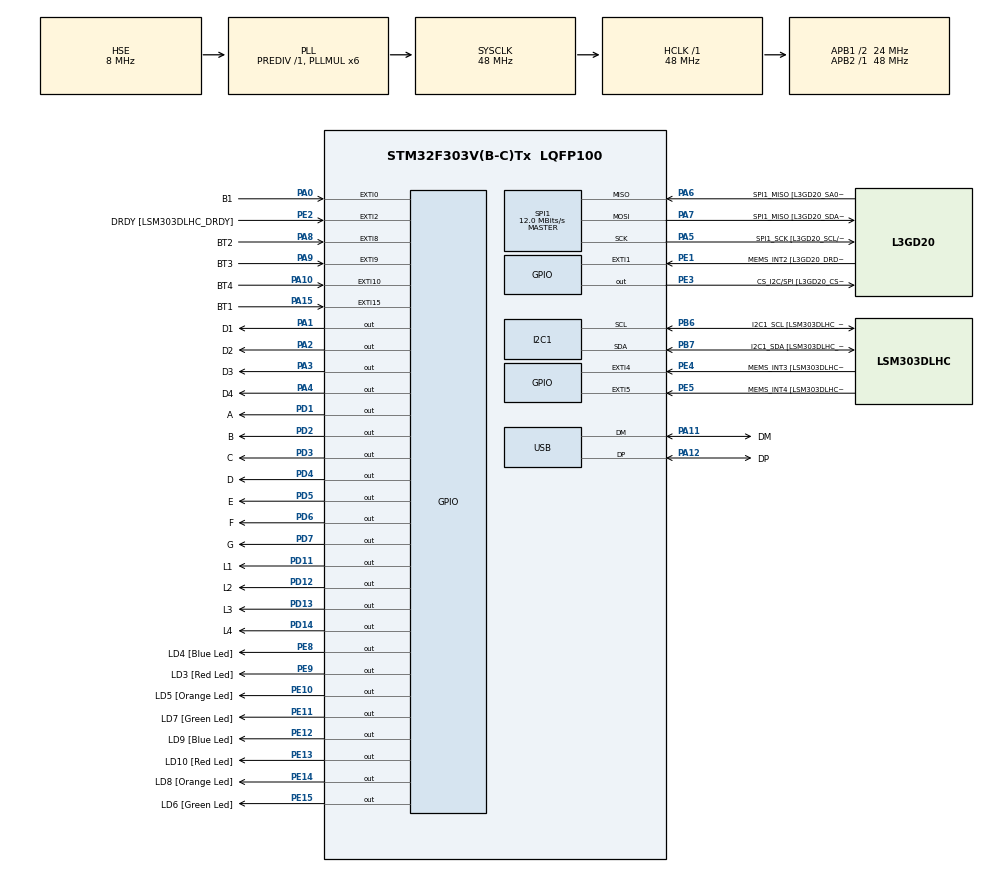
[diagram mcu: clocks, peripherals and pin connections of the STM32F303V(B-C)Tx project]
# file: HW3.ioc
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I2C1.Timing-I2C=0x2000090E
Mcu.Family=STM32F3
Mcu.Name=STM32F303V(B-C)Tx
Mcu.Package=LQFP100
NVIC.EXTI0_IRQn=true\:0\:0\:false\:false\:true\:true\:true\:true
NVIC.EXTI15_10_IRQn=true\:0\:0\:false\:false\:true\:true\:true\:true
NVIC.EXTI9_5_IRQn=true\:0\:0\:false\:false\:true\:true\:true\:true
NVIC.PriorityGroup=NVIC_PRIORITYGROUP_0
NVIC.TIM3_IRQn=true\:0\:0\:false\:false\:true\:true\:true\:true
PA0.GPIO_Label=B1
PA0.GPIO_PuPd=GPIO_PULLDOWN
PA0.Signal=GPXTI0
PA1.GPIO_Label=D1
PA1.Signal=GPIO_Output
PA10.GPIO_Label=BT4
PA10.Signal=GPXTI10
PA11.GPIO_Label=DM
PA11.Mode=Device
PA11.Signal=USB_DM
PA12.GPIO_Label=DP
PA12.Mode=Device
PA12.Signal=USB_DP
PA13.GPIO_Label=SWDIO
PA13.Mode=Serial_Wire
PA13.Signal=SYS_JTMS-SWDIO
PA14.GPIO_Label=SWCLK
PA14.Mode=Serial_Wire
PA14.Signal=SYS_JTCK-SWCLK
PA15.GPIO_Label=BT1
PA15.Signal=GPXTI15
PA2.GPIO_Label=D2
PA2.Signal=GPIO_Output
PA3.GPIO_Label=D3
PA3.Signal=GPIO_Output
PA4.GPIO_Label=D4
PA4.Signal=GPIO_Output
PA5.GPIO_Label=SPI1_SCK [L3GD20_SCL/SPC]
PA5.Mode=Full_Duplex_Master
PA5.Signal=SPI1_SCK
PA6.GPIO_Label=SPI1_MISO [L3GD20_SA0/SDO]
PA6.Mode=Full_Duplex_Master
PA6.Signal=SPI1_MISO
PA7.GPIO_Label=SPI1_MISO [L3GD20_SDA/SDI/SDO]
PA7.Mode=Full_Duplex_Master
PA7.Signal=SPI1_MOSI
PA8.GPIO_Label=BT2
PA8.GPIO_PuPd=GPIO_PULLDOWN
PA8.Signal=GPXTI8
PA9.GPIO_Label=BT3
PA9.Signal=GPXTI9
PB3.GPIO_Label=SWO
PB3.Signal=SYS_JTDO-TRACESWO
PB6.GPIO_Label=I2C1_SCL [LSM303DLHC_SCL]
PB6.GPIO_Pu=GPIO_PULLUP
PB6.Mode=I2C
PB6.Signal=I2C1_SCL
PB7.GPIO_Label=I2C1_SDA [LSM303DLHC_SDA]
PB7.GPIO_Pu=GPIO_PULLUP
PB7.Mode=I2C
PB7.Signal=I2C1_SDA
PC14-OSC32_IN.GPIO_Label=OSC32_IN
PC14-OSC32_IN.Signal=RCC_OSC32_IN
PC15-OSC32_OUT.GPIO_Label=OSC32_OUT
PC15-OSC32_OUT.Signal=RCC_OSC32_OUT
PD1.GPIO_Label=A
PD1.Signal=GPIO_Output
PD11.GPIO_Label=L1
PD11.Signal=GPIO_Output
PD12.GPIO_Label=L2
PD12.Signal=GPIO_Output
PD13.GPIO_Label=L3
PD13.Signal=GPIO_Output
PD14.GPIO_Label=L4
PD14.Signal=GPIO_Output
PD2.GPIO_Label=B
PD2.Signal=GPIO_Output
PD3.GPIO_Label=C
PD3.Signal=GPIO_Output
PD4.GPIO_Label=D
PD4.Signal=GPIO_Output
PD5.GPIO_Label=E
PD5.Signal=GPIO_Output
PD6.GPIO_Label=F
PD6.Signal=GPIO_Output
PD7.GPIO_Label=G
PD7.Signal=GPIO_Output
PE1.GPIO_Label=MEMS_INT2 [L3GD20_DRDY/INT2]
PE1.GPIO_ModeDefaultEXTI=GPIO_MODE_EVT_RISING
PE1.Signal=GPXTI1
PE10.GPIO_Label=LD5 [Orange Led]
PE10.Signal=GPIO_Output
PE11.GPIO_Label=LD7 [Green Led]
PE11.Signal=GPIO_Output
PE12.GPIO_Label=LD9 [Blue Led]
PE12.Signal=GPIO_Output
PE13.GPIO_Label=LD10 [Red Led]
PE13.Signal=GPIO_Output
PE14.GPIO_Label=LD8 [Orange Led]
PE14.Signal=GPIO_Output
PE15.GPIO_Label=LD6 [Green Led]
PE15.Signal=GPIO_Output
PE2.GPIO_Label=DRDY [LSM303DLHC_DRDY]
PE2.GPIO_ModeDefaultEXTI=GPIO_MODE_EVT_RISING
PE2.Signal=GPXTI2
PE3.GPIO_Label=CS_I2C/SPI [L3GD20_CS_I2C/SPI]
PE3.Signal=GPIO_Output
PE4.GPIO_Label=MEMS_INT3 [LSM303DLHC_INT1]
PE4.GPIO_ModeDefaultEXTI=GPIO_MODE_EVT_RISING
PE4.Signal=GPXTI4
PE5.GPIO_Label=MEMS_INT4 [LSM303DLHC_INT2]
PE5.GPIO_ModeDefaultEXTI=GPIO_MODE_EVT_RISING
PE5.Signal=GPXTI5
PE8.GPIO_Label=LD4 [Blue Led]
PE8.Signal=GPIO_Output
PE9.GPIO_Label=LD3 [Red Led]
PE9.Signal=GPIO_Output
PF0-OSC_IN.GPIO_Label=OSC_IN
PF0-OSC_IN.Mode=HSE-External-Clock-Source
PF0-OSC_IN.Signal=RCC_OSC_IN
PF1-OSC_OUT.GPIO_Label=OSC_OUT
PF1-OSC_OUT.Signal=RCC_OSC_OUT
ProjectManager.HeapSize=0x200
ProjectManager.StackSize=0x400
ProjectManager.TargetToolchain=STM32CubeIDE
RCC.AHBFreq_Value=48000000
RCC.APB1CLKDivider=RCC_HCLK_DIV2
RCC.APB1Freq_Value=24000000
RCC.APB1TimFreq_Value=48000000
RCC.APB2Freq_Value=48000000
RCC.APB2TimFreq_Value=48000000
RCC.CortexFreq_Value=48000000
RCC.HCLKFreq_Value=48000000
RCC.HSE_VALUE=8000000
RCC.HSI_VALUE=8000000
RCC.LSE_VALUE=32768
RCC.PLLMUL=RCC_PLL_MUL6
RCC.SYSCLKFreq_VALUE=48000000
RCC.SYSCLKSourceVirtual=RCC_SYSCLKSOURCE_PLLCLK
RCC.USBFreq_Value=48000000
SPI1.BaudRatePrescaler=SPI_BAUDRATEPRESCALER_4
SPI1.BaudRatePrescaler-Full_Duplex_Master=SPI_BAUDRATEPRESCALER_2
SPI1.CalculateBaudRate=12.0 MBits/s
SPI1.CalculateBaudRate-Full_Duplex_Master=24.0 MBits/s
SPI1.Direction=SPI_DIRECTION_2LINES
SPI1.Mode=SPI_MODE_MASTER
SPI1.Mode-Full_Duplex_Master=SPI_MODE_MASTER
SPI1.VirtualType=VM_MASTER
TIM3.Period=10 - 1
TIM3.Prescaler=4800 - 1
VP_TIM3_VS_ClockSourceINT.Mode=Internal
board=STM32F3DISCOVERY

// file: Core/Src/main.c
/* USER CODE BEGIN Header */
/**
  ******************************************************************************
  * @file           : main.c
  * @brief          : Main program body
  ******************************************************************************
  * @attention
  *
  * Copyright (c) 2023 STMicroelectronics.
  * All rights reserved.
  *
  * This software is licensed under terms that can be found in the LICENSE file
  * in the root directory of this software component.
  * If no LICENSE file comes with this software, it is provided AS-IS.
  *
  ******************************************************************************
  */
/* USER CODE END Header */
#include "main.h"

I2C_HandleTypeDef hi2c1;

SPI_HandleTypeDef hspi1;

TIM_HandleTypeDef htim3;

PCD_HandleTypeDef hpcd_USB_FS;

/* USER CODE BEGIN PV */
int t = 60;
int t_timer = 0;
int b_timer = 0;
int num = 0;
int fails = 0;
int stat = 0;
uint16_t LED[] = {L1_Pin,L2_Pin,L3_Pin,L4_Pin};
int nums[] = {1,2,3,5};
int done = 0;
/* USER CODE END PV */

void SystemClock_Config(void);
static void MX_GPIO_Init(void);
static void MX_I2C1_Init(void);
static void MX_SPI1_Init(void);
static void MX_USB_PCD_Init(void);
static void MX_TIM3_Init(void);

int main(void)
{

  /* MCU Configuration--------------------------------------------------------*/

  /* Reset of all peripherals, Initializes the Flash interface and the Systick. */
  HAL_Init();

  /* Configure the system clock */
  SystemClock_Config();

  /* Initialize all configured peripherals */
  MX_GPIO_Init();
  MX_I2C1_Init();
  MX_SPI1_Init();
  MX_USB_PCD_Init();
  MX_TIM3_Init();
  /* USER CODE BEGIN 2 */
  HAL_TIM_Base_Start_IT(&htim3);
  /* USER CODE END 2 */

  /* Infinite loop */
  while (1)
  {

  }
}

void SystemClock_Config(void)
{
  RCC_OscInitTypeDef RCC_OscInitStruct = {0};
  RCC_ClkInitTypeDef RCC_ClkInitStruct = {0};
  RCC_PeriphCLKInitTypeDef PeriphClkInit = {0};

  /** Initializes the RCC Oscillators according to the specified parameters
  * in the RCC_OscInitTypeDef structure.
  */
  RCC_OscInitStruct.OscillatorType = RCC_OSCILLATORTYPE_HSI|RCC_OSCILLATORTYPE_HSE;
  RCC_OscInitStruct.HSEState = RCC_HSE_BYPASS;
  RCC_OscInitStruct.HSEPredivValue = RCC_HSE_PREDIV_DIV1;
  RCC_OscInitStruct.HSIState = RCC_HSI_ON;
  RCC_OscInitStruct.HSICalibrationValue = RCC_HSICALIBRATION_DEFAULT;
  RCC_OscInitStruct.PLL.PLLState = RCC_PLL_ON;
  RCC_OscInitStruct.PLL.PLLSource = RCC_PLLSOURCE_HSE;
  RCC_OscInitStruct.PLL.PLLMUL = RCC_PLL_MUL6;
  if (HAL_RCC_OscConfig(&RCC_OscInitStruct) != HAL_OK)
  {
    Error_Handler();
  }

  /** Initializes the CPU, AHB and APB buses clocks
  */
  RCC_ClkInitStruct.ClockType = RCC_CLOCKTYPE_HCLK|RCC_CLOCKTYPE_SYSCLK
                              |RCC_CLOCKTYPE_PCLK1|RCC_CLOCKTYPE_PCLK2;
  RCC_ClkInitStruct.SYSCLKSource = RCC_SYSCLKSOURCE_PLLCLK;
  RCC_ClkInitStruct.AHBCLKDivider = RCC_SYSCLK_DIV1;
  RCC_ClkInitStruct.APB1CLKDivider = RCC_HCLK_DIV2;
  RCC_ClkInitStruct.APB2CLKDivider = RCC_HCLK_DIV1;

  if (HAL_RCC_ClockConfig(&RCC_ClkInitStruct, FLASH_LATENCY_1) != HAL_OK)
  {
    Error_Handler();
  }
  PeriphClkInit.PeriphClockSelection = RCC_PERIPHCLK_USB|RCC_PERIPHCLK_I2C1;
  PeriphClkInit.I2c1ClockSelection = RCC_I2C1CLKSOURCE_HSI;
  PeriphClkInit.USBClockSelection = RCC_USBCLKSOURCE_PLL;
  if (HAL_RCCEx_PeriphCLKConfig(&PeriphClkInit) != HAL_OK)
  {
    Error_Handler();
  }
}

static void MX_I2C1_Init(void)
{

  hi2c1.Instance = I2C1;
  hi2c1.Init.Timing = 0x2000090E;
  hi2c1.Init.OwnAddress1 = 0;
  hi2c1.Init.AddressingMode = I2C_ADDRESSINGMODE_7BIT;
  hi2c1.Init.DualAddressMode = I2C_DUALADDRESS_DISABLE;
  hi2c1.Init.OwnAddress2 = 0;
  hi2c1.Init.OwnAddress2Masks = I2C_OA2_NOMASK;
  hi2c1.Init.GeneralCallMode = I2C_GENERALCALL_DISABLE;
  hi2c1.Init.NoStretchMode = I2C_NOSTRETCH_DISABLE;
  if (HAL_I2C_Init(&hi2c1) != HAL_OK)
  {
    Error_Handler();
  }

  /** Configure Analogue filter
  */
  if (HAL_I2CEx_ConfigAnalogFilter(&hi2c1, I2C_ANALOGFILTER_ENABLE) != HAL_OK)
  {
    Error_Handler();
  }

  /** Configure Digital filter
  */
  if (HAL_I2CEx_ConfigDigitalFilter(&hi2c1, 0) != HAL_OK)
  {
    Error_Handler();
  }

}

static void MX_SPI1_Init(void)
{

  /* SPI1 parameter configuration*/
  hspi1.Instance = SPI1;
  hspi1.Init.Mode = SPI_MODE_MASTER;
  hspi1.Init.Direction = SPI_DIRECTION_2LINES;
  hspi1.Init.DataSize = SPI_DATASIZE_4BIT;
  hspi1.Init.CLKPolarity = SPI_POLARITY_LOW;
  hspi1.Init.CLKPhase = SPI_PHASE_1EDGE;
  hspi1.Init.NSS = SPI_NSS_SOFT;
  hspi1.Init.BaudRatePrescaler = SPI_BAUDRATEPRESCALER_4;
  hspi1.Init.FirstBit = SPI_FIRSTBIT_MSB;
  hspi1.Init.TIMode = SPI_TIMODE_DISABLE;
  hspi1.Init.CRCCalculation = SPI_CRCCALCULATION_DISABLE;
  hspi1.Init.CRCPolynomial = 7;
  hspi1.Init.CRCLength = SPI_CRC_LENGTH_DATASIZE;
  hspi1.Init.NSSPMode = SPI_NSS_PULSE_ENABLE;
  if (HAL_SPI_Init(&hspi1) != HAL_OK)
  {
    Error_Handler();
  }

}

static void MX_TIM3_Init(void)
{

  TIM_ClockConfigTypeDef sClockSourceConfig = {0};
  TIM_MasterConfigTypeDef sMasterConfig = {0};

  htim3.Instance = TIM3;
  htim3.Init.Prescaler = 4800 - 1;
  htim3.Init.CounterMode = TIM_COUNTERMODE_UP;
  htim3.Init.Period = 10 - 1;
  htim3.Init.ClockDivision = TIM_CLOCKDIVISION_DIV1;
  htim3.Init.AutoReloadPreload = TIM_AUTORELOAD_PRELOAD_DISABLE;
  if (HAL_TIM_Base_Init(&htim3) != HAL_OK)
  {
    Error_Handler();
  }
  sClockSourceConfig.ClockSource = TIM_CLOCKSOURCE_INTERNAL;
  if (HAL_TIM_ConfigClockSource(&htim3, &sClockSourceConfig) != HAL_OK)
  {
    Error_Handler();
  }
  sMasterConfig.MasterOutputTrigger = TIM_TRGO_RESET;
  sMasterConfig.MasterSlaveMode = TIM_MASTERSLAVEMODE_DISABLE;
  if (HAL_TIMEx_MasterConfigSynchronization(&htim3, &sMasterConfig) != HAL_OK)
  {
    Error_Handler();
  }

}

static void MX_USB_PCD_Init(void)
{

  hpcd_USB_FS.Instance = USB;
  hpcd_USB_FS.Init.dev_endpoints = 8;
  hpcd_USB_FS.Init.speed = PCD_SPEED_FULL;
  hpcd_USB_FS.Init.phy_itface = PCD_PHY_EMBEDDED;
  hpcd_USB_FS.Init.low_power_enable = DISABLE;
  hpcd_USB_FS.Init.battery_charging_enable = DISABLE;
  if (HAL_PCD_Init(&hpcd_USB_FS) != HAL_OK)
  {
    Error_Handler();
  }

}

static void MX_GPIO_Init(void)
{
  GPIO_InitTypeDef GPIO_InitStruct = {0};

  /* GPIO Ports Clock Enable */
  __HAL_RCC_GPIOE_CLK_ENABLE();
  __HAL_RCC_GPIOC_CLK_ENABLE();
  __HAL_RCC_GPIOF_CLK_ENABLE();
  __HAL_RCC_GPIOA_CLK_ENABLE();
  __HAL_RCC_GPIOD_CLK_ENABLE();
  __HAL_RCC_GPIOB_CLK_ENABLE();

  /*Configure GPIO pin Output Level */
  HAL_GPIO_WritePin(GPIOE, CS_I2C_SPI_Pin|LD4_Pin|LD3_Pin|LD5_Pin
                          |LD7_Pin|LD9_Pin|LD10_Pin|LD8_Pin
                          |LD6_Pin, GPIO_PIN_RESET);

  /*Configure GPIO pin Output Level */
  HAL_GPIO_WritePin(GPIOA, D1_Pin|D2_Pin|D3_Pin|D4_Pin, GPIO_PIN_RESET);

  /*Configure GPIO pin Output Level */
  HAL_GPIO_WritePin(GPIOD, L1_Pin|L2_Pin|L3_Pin|L4_Pin
                          |A_Pin|B_Pin|C_Pin|D_Pin
                          |E_Pin|F_Pin|G_Pin, GPIO_PIN_RESET);

  /*Configure GPIO pins : DRDY_Pin MEMS_INT3_Pin MEMS_INT4_Pin MEMS_INT2_Pin */
  GPIO_InitStruct.Pin = DRDY_Pin|MEMS_INT3_Pin|MEMS_INT4_Pin|MEMS_INT2_Pin;
  GPIO_InitStruct.Mode = GPIO_MODE_EVT_RISING;
  GPIO_InitStruct.Pull = GPIO_NOPULL;
  HAL_GPIO_Init(GPIOE, &GPIO_InitStruct);

  /*Configure GPIO pins : CS_I2C_SPI_Pin LD4_Pin LD3_Pin LD5_Pin
                           LD7_Pin LD9_Pin LD10_Pin LD8_Pin
                           LD6_Pin */
  GPIO_InitStruct.Pin = CS_I2C_SPI_Pin|LD4_Pin|LD3_Pin|LD5_Pin
                          |LD7_Pin|LD9_Pin|LD10_Pin|LD8_Pin
                          |LD6_Pin;
  GPIO_InitStruct.Mode = GPIO_MODE_OUTPUT_PP;
  GPIO_InitStruct.Pull = GPIO_NOPULL;
  GPIO_InitStruct.Speed = GPIO_SPEED_FREQ_LOW;
  HAL_GPIO_Init(GPIOE, &GPIO_InitStruct);

  /*Configure GPIO pins : B1_Pin BT2_Pin */
  GPIO_InitStruct.Pin = B1_Pin|BT2_Pin;
  GPIO_InitStruct.Mode = GPIO_MODE_IT_RISING;
  GPIO_InitStruct.Pull = GPIO_PULLDOWN;
  HAL_GPIO_Init(GPIOA, &GPIO_InitStruct);

  /*Configure GPIO pins : D1_Pin D2_Pin D3_Pin D4_Pin */
  GPIO_InitStruct.Pin = D1_Pin|D2_Pin|D3_Pin|D4_Pin;
  GPIO_InitStruct.Mode = GPIO_MODE_OUTPUT_PP;
  GPIO_InitStruct.Pull = GPIO_NOPULL;
  GPIO_InitStruct.Speed = GPIO_SPEED_FREQ_LOW;
  HAL_GPIO_Init(GPIOA, &GPIO_InitStruct);

  /*Configure GPIO pins : L1_Pin L2_Pin L3_Pin L4_Pin
                           A_Pin B_Pin C_Pin D_Pin
                           E_Pin F_Pin G_Pin */
  GPIO_InitStruct.Pin = L1_Pin|L2_Pin|L3_Pin|L4_Pin
                          |A_Pin|B_Pin|C_Pin|D_Pin
                          |E_Pin|F_Pin|G_Pin;
  GPIO_InitStruct.Mode = GPIO_MODE_OUTPUT_PP;
  GPIO_InitStruct.Pull = GPIO_NOPULL;
  GPIO_InitStruct.Speed = GPIO_SPEED_FREQ_LOW;
  HAL_GPIO_Init(GPIOD, &GPIO_InitStruct);

  /*Configure GPIO pins : BT3_Pin BT4_Pin BT1_Pin */
  GPIO_InitStruct.Pin = BT3_Pin|BT4_Pin|BT1_Pin;
  GPIO_InitStruct.Mode = GPIO_MODE_IT_RISING;
  GPIO_InitStruct.Pull = GPIO_NOPULL;
  HAL_GPIO_Init(GPIOA, &GPIO_InitStruct);

  /* EXTI interrupt init*/
  HAL_NVIC_SetPriority(EXTI0_IRQn, 0, 0);
  HAL_NVIC_EnableIRQ(EXTI0_IRQn);

  HAL_NVIC_SetPriority(EXTI9_5_IRQn, 0, 0);
  HAL_NVIC_EnableIRQ(EXTI9_5_IRQn);

  HAL_NVIC_SetPriority(EXTI15_10_IRQn, 0, 0);
  HAL_NVIC_EnableIRQ(EXTI15_10_IRQn);

}

/* USER CODE BEGIN 4 */
void num_to_seven(int i)
{
	int x1 = i & 1;
	int x2 = i & 2;
	int x3 = i & 4;
	int x4 = i & 8;
	if (x1 > 0) x1 = 1;
	if (x2 > 0) x2 = 1;
	if (x3 > 0) x3 = 1;
	if (x4 > 0) x4 = 1;
	HAL_GPIO_WritePin(GPIOD, A_Pin, x1);
	HAL_GPIO_WritePin(GPIOD, B_Pin, x2);
	HAL_GPIO_WritePin(GPIOD, C_Pin, x3);
	HAL_GPIO_WritePin(GPIOD, D_Pin, x4);
}
void HAL_GPIO_EXTI_Callback(uint16_t GPIO_Pin){

	if (GPIO_Pin == B1_Pin)
	{
		static uint32_t last = 0;
		if(HAL_GetTick() - last < 500 || done)
			return;

		last = HAL_GetTick();
		if(nums[stat] == num )
		{
			HAL_GPIO_WritePin(GPIOD, LED[stat],1);
			stat++;
			num = 0;
			if (stat == 4)
			{
				done = 1;
				HAL_GPIO_WritePin(GPIOD,G_Pin,1);
			}
		}else{
			stat = 0;
			fails++;
			num = 0;
			HAL_GPIO_WritePin(GPIOD, LED[0] |  LED[1] |  LED[2] |  LED[3],0);
		}

	}
	if (GPIO_Pin == BT1_Pin)
	{
		static uint32_t last = 0;
		if(HAL_GetTick() - last < 500)
			return;

		last = HAL_GetTick();
		if (stat == 0)
		{
			num++;
			if(num == 10) num = 0;
		}
	}
	if (GPIO_Pin == BT2_Pin)
	{
		static uint32_t last = 0;
		if(HAL_GetTick() - last < 500)
			return;

		last = HAL_GetTick();
		if (stat == 1)
		{
			num++;
			if(num == 10) num = 0;
		}
	}
	if (GPIO_Pin == BT3_Pin)
	{
		static uint32_t last = 0;
		if(HAL_GetTick() - last < 500)
			return;

		last = HAL_GetTick();
		if (stat == 2)
		{
			num++;
			if(num == 10) num = 0;
		}
	}
	if (GPIO_Pin == BT4_Pin)
	{
		static uint32_t last = 0;
		if(HAL_GetTick() - last < 500)
			return;

		last = HAL_GetTick();
		if (stat == 3)
		{
			num++;
			if(num == 10) num = 0;
		}
	}
}
void HAL_TIM_PeriodElapsedCallback(TIM_HandleTypeDef *htim)
{
    if (htim->Instance == TIM3)
    {
    	if((t_timer == 500 || t_timer == 100) && !done)
    	{
        	HAL_GPIO_TogglePin(GPIOD, LED[stat]);
    	}
    	if(t_timer == 1000)
    	{
    		if (!done)
    			t--;
    		t_timer = 0;
    	}
    	if(b_timer > (t / 6) * 100)
    	{
    		b_timer = 0;
    	}
    	if(t < 0)
    	{
    		done = 1;
    	}
    	int ones = t % 10;
      	int tens = t / 10;
    	if(t_timer % 4 == 0)
    	{
    		if(b_timer < (t / 6 + 1) * 50  || done)
    		{
          	num_to_seven(ones);
        	HAL_GPIO_WritePin(GPIOA, D1_Pin, 1);
        	HAL_GPIO_WritePin(GPIOA, D2_Pin, 0);
        	HAL_GPIO_WritePin(GPIOA, D3_Pin, 1);
        	HAL_GPIO_WritePin(GPIOA, D4_Pin, 1);
    		}
    	}else if(t_timer % 4 == 1)
    	{
    		if(b_timer < (t / 6 + 1) * 50  || done)
    		{
        	num_to_seven(tens);
        	HAL_GPIO_WritePin(GPIOA, D1_Pin, 0);
        	HAL_GPIO_WritePin(GPIOA, D2_Pin, 1);
        	HAL_GPIO_WritePin(GPIOA, D3_Pin, 1);
        	HAL_GPIO_WritePin(GPIOA, D4_Pin, 1);
    		}
    	}else if(t_timer % 4 == 2)
    	{
    		{
				num_to_seven(num);
				HAL_GPIO_WritePin(GPIOA, D1_Pin, 1);
				HAL_GPIO_WritePin(GPIOA, D2_Pin, 1);
				HAL_GPIO_WritePin(GPIOA, D3_Pin, 0);
				HAL_GPIO_WritePin(GPIOA, D4_Pin, 1);
    		}
    	}else if(t_timer % 4 == 3)
    	{
    		//if(b_timer < (t / 6 + 1) * 50 || done)
    		{
				num_to_seven(fails);
				HAL_GPIO_WritePin(GPIOA, D1_Pin, 1);
				HAL_GPIO_WritePin(GPIOA, D2_Pin, 1);
				HAL_GPIO_WritePin(GPIOA, D3_Pin, 1);
				HAL_GPIO_WritePin(GPIOA, D4_Pin, 0);
    		}
    	}
    	t_timer++;
    	b_timer++;
    }
}
/* USER CODE END 4 */

void Error_Handler(void)
{
  __disable_irq();
  while (1)
  {
  }
}
